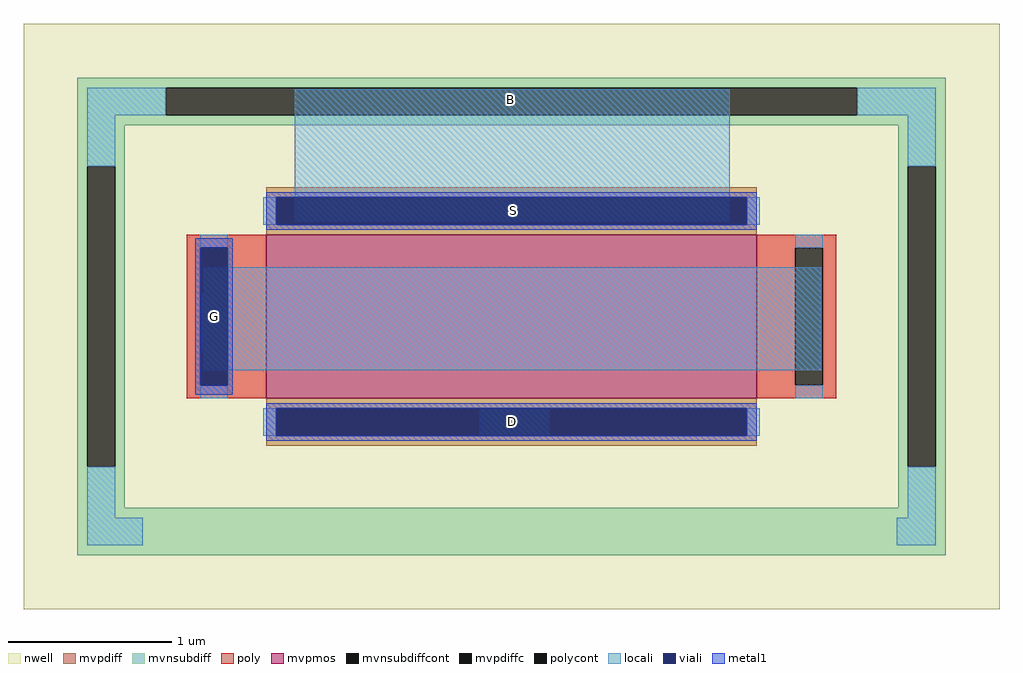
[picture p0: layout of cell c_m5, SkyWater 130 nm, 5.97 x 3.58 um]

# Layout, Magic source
magic
tech sky130A
magscale 1 2
<< locali >>
rect -132 598 400 760
rect -244 510 512 542
rect -246 440 512 510
rect -244 416 512 440
rect 94 336 180 368
use sky130_fd_pr__pfet_g5v0d10v5_MC3PNY  sky130_fd_pr__pfet_g5v0d10v5_MC3PNY_0
transform 0 1 133 -1 0 482
box -358 -597 358 597
<< labels >>
flabel locali 134 354 134 354 0 FreeSans 800 0 0 0 D
port 0 nsew
flabel locali -230 482 -230 482 0 FreeSans 800 0 0 0 G
port 1 nsew
flabel locali 136 612 136 612 0 FreeSans 800 0 0 0 S
port 2 nsew
flabel locali 132 748 132 748 0 FreeSans 800 0 0 0 B
port 3 nsew
<< end >>

# cell sky130_fd_pr__pfet_g5v0d10v5_MC3PNY: kit device sky130_fd_pr__pfet_g5v0d10v5, w 3 l 1 m 1 nf 1 diffcov 100 polycov 100 guard 1 glc 1 grc 1 gtc 1 gbc 1 tbcov 100 rlcov 100 topc 1 botc 1 poverlap 0 doverlap 1 lmin 0.50 wmin 0.42 class mosfet compatible {sky130_fd_pr__pfet_01v8 sky130_fd_pr__pfet_01v8_lvt sky130_fd_pr__pfet_01v8_hvt sky130_fd_pr__pfet_g5v0d10v5} full_metal 1 conn_gates 0 viasrc 100 viadrn 100 viagate 100 viagb 0 viagr 0 viagl 0 viagt 0 doports 1
